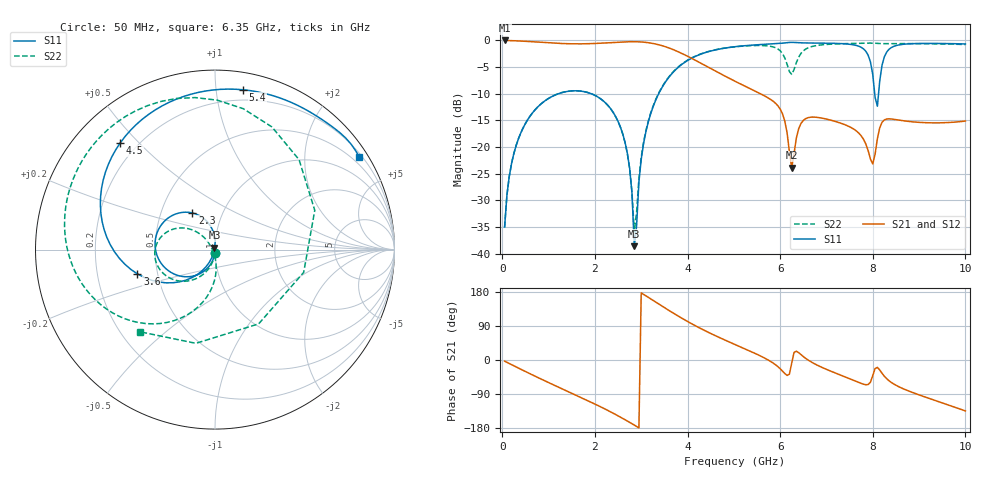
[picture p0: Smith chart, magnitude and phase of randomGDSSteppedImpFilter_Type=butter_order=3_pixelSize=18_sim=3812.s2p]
! freq	dB(S11)	phase(S11)	dB(S12)	phase(S12)
!  dB(S21)	phase(S21)	dB(S22)	phase(S22)
!S-par simulation data
#  GHz  S  DB  R 50
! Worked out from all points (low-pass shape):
!   200 points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, 50 MHz to 10 GHz, reference 50 ohm
!   highest |S21| = 0.00 dB at 50 MHz (marker M1); lowest = -23.9 dB at 6.25 GHz (marker M2)
!   |S21| within 3 dB of the highest: start of sweep to 4.009 GHz
!   lowest |S11| = -38.6 dB at 2.85 GHz (marker M3), VSWR 1.02, Z = 49.7 + j1.12 ohm
!   |S11| at or under -10 dB: start of sweep to 1.212 GHz; 1.92 GHz to 3.377 GHz (1.457 GHz wide, 55 % of centre); 8.042 GHz to 8.125 GHz (83 MHz wide, 1.03 % of centre)
!   |S22| runs from -35.8 to -0.5 dB; largest |S21 - S12| = 0
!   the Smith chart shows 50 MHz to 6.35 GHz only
!   S11 on the Smith chart (normalised r, x): 50 MHz: 1.00, -0.04; 2.3 GHz: 0.72, +0.31; 3.6 GHz: 0.38, -0.13; 4.5 GHz: 0.14, +0.44; 5.4 GHz: 0.12, +1.18; 6.35 GHz: 0.29, +3.40
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0.05  -35.02 -93.3  -0.00 -3.1  -0.00 -3.1  -35.03 -92.7
0.5  -15.59 -123.8  -0.16 -30.4  -0.16 -30.4  -15.58 -118.1
1.75  -9.59 157.5  -0.63 -101.8  -0.63 -101.8  -9.58 178.2
2.3  -12.39 121.7  -0.43 -134.4  -0.43 -134.4  -12.40 150.2
2.7  -21.15 93.8  -0.25 -161.0  -0.25 -161.0  -21.20 131.8
2.85  -38.61 105.3  -0.24 -171.8  -0.24 -171.8  -35.85 172.0
3.05  -19.39 -117.6  -0.32 173.3  -0.32 173.3  -19.13 -86.6
3.4  -9.60 -146.0  -0.86 146.1  -0.86 146.1  -9.50 -106.6
3.6  -6.88 -162.6  -1.42 130.6  -1.42 130.6  -6.80 -120.0
4.5  -1.99 131.5  -5.27 70.0  -5.27 70.0  -1.96 -173.4
5.05  -1.15 98.9  -7.77 39.5  -7.77 39.5  -1.17 159.1
5.4  -0.88 80.2  -9.26 20.7  -9.26 20.7  -0.97 140.5
6  -0.55 50.6  -12.87 -22.9  -12.87 -22.9  -1.93 78.6
6.25  -0.36 37.8  -23.87 -7.8  -23.87 -7.8  -6.37 -59.5
6.35  -0.40 32.6  -18.30 23.3  -18.30 23.3  -4.16 -132.3
6.7  -0.49 16.3  -14.39 -7.2  -14.39 -7.2  -1.11 150.7
7.6  -0.85 -33.0  -16.70 -54.2  -16.70 -54.2  -0.56 99.2
7.9  -2.77 -73.6  -20.68 -64.7  -20.68 -64.7  -0.51 86.5
8.05  -10.70 -152.1  -21.34 -22.4  -21.34 -22.4  -0.53 80.0
8.15  -7.62 69.1  -16.41 -26.3  -16.41 -26.3  -0.59 76.0
8.35  -1.67 4.0  -14.71 -54.7  -14.71 -54.7  -0.61 68.4
10  -0.66 -81.0  -15.13 -134.4  -15.13 -134.4  -0.77 -4.5
